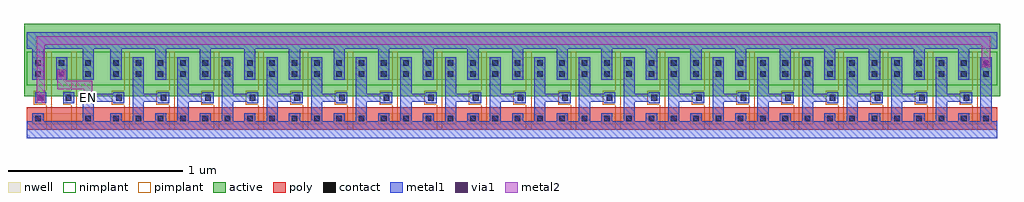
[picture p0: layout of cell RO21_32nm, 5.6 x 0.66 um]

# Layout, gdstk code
import gdstk
lib = gdstk.Library(unit=1e-6, precision=1e-09)
def R(c, l, rs):  # rectangles x0, y0, x1, y1
    for r in rs: c.add(gdstk.rectangle(r[:2], r[2:], *l))
def A(c, l, x, y, w, h, nx, ny, dx, dy):  # array of equal rectangles
    R(c, l, [(x+i*dx, y+j*dy, x+i*dx+w, y+j*dy+h) for i in range(nx) for j in range(ny)])
active = (1, 0)
nwell = (2, 0)
poly = (3, 0)
nimplant = (4, 0)
pimplant = (5, 0)
contact = (6, 0)
metal1 = (7, 0)
via1 = (8, 0)
metal2 = (9, 0)

ro21_32nm = lib.new_cell('RO21_32nm')
A(ro21_32nm, active, 0.432, 0.24, 0.288, 0.416, 20, 1, 0.256, 0)
R(ro21_32nm, active, [(-0.016,0.24,0.464,0.656)])
A(ro21_32nm, nwell, 0.48, 0.08, 0.192, 0.064, 20, 1, 0.256, 0)
A(ro21_32nm, nwell, 0.48, 0.336, 0.192, 0.128, 20, 1, 0.256, 0)
R(ro21_32nm, nwell, [(0.032,0.08,0.384,0.144), (0.032,0.336,0.384,0.464)])
A(ro21_32nm, poly, 0.448, 0.048, 0.256, 0.128, 20, 1, 0.256, 0)
R(ro21_32nm, poly, [(0,0.048,0.448,0.176)])
A(ro21_32nm, nimplant, 0.448, 0.304, 0.256, 0.192, 20, 1, 0.256, 0)
R(ro21_32nm, nimplant, [(0,0.304,0.448,0.496)])
A(ro21_32nm, pimplant, 0.56, 0.048, 0.032, 0.448, 20, 1, 0.256, 0)
A(ro21_32nm, pimplant, 0.488, 0.192, 0.08, 0.08, 20, 1, 0.256, 0)
R(ro21_32nm, pimplant, [(0.112,0.048,0.144,0.496), (0.256,0.048,0.288,0.496), (0.04,0.192,0.12,0.272), (0.208,0.192,0.288,0.272)])
A(ro21_32nm, contact, 0.496, 0.096, 0.032, 0.032, 40, 2, 0.128, 0.256)
A(ro21_32nm, contact, 0.512, 0.216, 0.032, 0.032, 20, 1, 0.256, 0)
A(ro21_32nm, contact, 0.496, 0.416, 0.032, 0.032, 40, 1, 0.128, 0)
R(ro21_32nm, contact, [(0.048,0.096,0.08,0.128), (0.336,0.096,0.368,0.128), (0.064,0.216,0.096,0.248), (0.224,0.216,0.256,0.248), (0.048,0.352,0.08,0.384), (0.184,0.352,0.216,0.384), (0.336,0.352,0.368,0.384), (0.048,0.416,0.08,0.448), (0.184,0.416,0.216,0.448), (0.336,0.416,0.368,0.448)])
A(ro21_32nm, metal1, 0.448, 0, 0.256, 0.096, 20, 2, 0.256, 0.512)
A(ro21_32nm, metal1, 0.48, 0, 0.064, 0.144, 20, 1, 0.256, 0)
A(ro21_32nm, metal1, 0.608, 0.08, 0.064, 0.384, 20, 1, 0.256, 0)
A(ro21_32nm, metal1, 0.496, 0.2, 0.064, 0.064, 20, 1, 0.256, 0)
A(ro21_32nm, metal1, 0.672, 0.208, 0.08, 0.048, 19, 1, 0.256, 0)
A(ro21_32nm, metal1, 0.48, 0.336, 0.064, 0.272, 20, 1, 0.256, 0)
R(ro21_32nm, metal1, [(0,0,0.448,0.096), (0.032,0,0.096,0.144), (0.32,0.08,0.384,0.256), (0.048,0.2,0.112,0.264), (0.208,0.2,0.272,0.264), (0.384,0.208,0.496,0.256), (0.032,0.336,0.096,0.608), (0.168,0.336,0.232,0.464), (0.32,0.336,0.384,0.608), (0,0.512,0.448,0.608)])
R(ro21_32nm, via1, [(0.336,0.208,0.368,0.24), (0.064,0.216,0.096,0.248), (0.184,0.352,0.216,0.384), (5.488,0.416,5.52,0.448)])
R(ro21_32nm, metal2, [(0.056,0.2,0.104,0.584), (0.328,0.2,0.376,0.328), (0.176,0.28,0.376,0.328), (0.176,0.28,0.224,0.392), (5.48,0.408,5.528,0.584), (0.056,0.536,5.528,0.584)])
ro21_32nm.add(gdstk.Label('EN', (0.352,0.232), layer=7, texttype=0))

lib.write_gds('RO21_32nm.gds')
